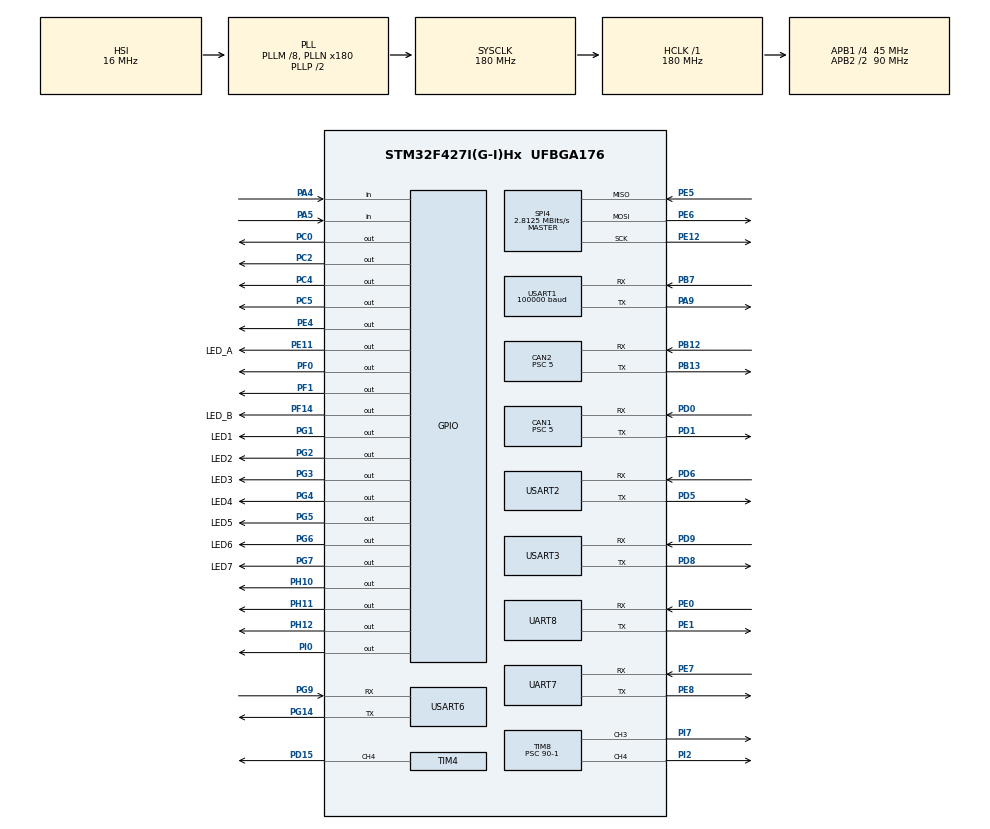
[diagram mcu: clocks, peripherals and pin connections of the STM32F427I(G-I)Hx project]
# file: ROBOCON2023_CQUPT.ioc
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CAN1.ABOM=ENABLE
CAN1.BS1=CAN_BS1_3TQ
CAN1.BS2=CAN_BS2_5TQ
CAN1.CalculateBaudRate=1000000
CAN1.CalculateTimeBit=1000
CAN1.CalculateTimeQuantum=111.11111111111111
CAN1.Prescaler=5
CAN2.ABOM=ENABLE
CAN2.BS1=CAN_BS1_3TQ
CAN2.BS2=CAN_BS2_5TQ
CAN2.CalculateBaudRate=1000000
CAN2.CalculateTimeBit=1000
CAN2.CalculateTimeQuantum=111.11111111111111
CAN2.Prescaler=5
Dma.Request0=USART1_RX
Dma.Request1=USART2_RX
Dma.Request2=USART6_RX
Dma.USART1_RX.0.Direction=DMA_PERIPH_TO_MEMORY
Dma.USART1_RX.0.FIFOMode=DMA_FIFOMODE_DISABLE
Dma.USART1_RX.0.Instance=DMA2_Stream2
Dma.USART1_RX.0.MemDataAlignment=DMA_MDATAALIGN_BYTE
Dma.USART1_RX.0.MemInc=DMA_MINC_ENABLE
Dma.USART1_RX.0.Mode=DMA_CIRCULAR
Dma.USART1_RX.0.PeriphDataAlignment=DMA_PDATAALIGN_BYTE
Dma.USART1_RX.0.PeriphInc=DMA_PINC_DISABLE
Dma.USART1_RX.0.Priority=DMA_PRIORITY_MEDIUM
Dma.USART2_RX.1.Direction=DMA_PERIPH_TO_MEMORY
Dma.USART2_RX.1.FIFOMode=DMA_FIFOMODE_DISABLE
Dma.USART2_RX.1.Instance=DMA1_Stream5
Dma.USART2_RX.1.MemDataAlignment=DMA_MDATAALIGN_BYTE
Dma.USART2_RX.1.MemInc=DMA_MINC_ENABLE
Dma.USART2_RX.1.Mode=DMA_CIRCULAR
Dma.USART2_RX.1.PeriphDataAlignment=DMA_PDATAALIGN_BYTE
Dma.USART2_RX.1.PeriphInc=DMA_PINC_DISABLE
Dma.USART2_RX.1.Priority=DMA_PRIORITY_MEDIUM
Dma.USART6_RX.2.Direction=DMA_PERIPH_TO_MEMORY
Dma.USART6_RX.2.FIFOMode=DMA_FIFOMODE_DISABLE
Dma.USART6_RX.2.Instance=DMA2_Stream1
Dma.USART6_RX.2.MemDataAlignment=DMA_MDATAALIGN_BYTE
Dma.USART6_RX.2.MemInc=DMA_MINC_ENABLE
Dma.USART6_RX.2.Mode=DMA_CIRCULAR
Dma.USART6_RX.2.PeriphDataAlignment=DMA_PDATAALIGN_BYTE
Dma.USART6_RX.2.PeriphInc=DMA_PINC_DISABLE
Dma.USART6_RX.2.Priority=DMA_PRIORITY_MEDIUM
FREERTOS.Mutexes01=shellMutex,Dynamic,NULL
FREERTOS.Tasks01=testTask,-1,128,test_task,As weak,NULL,Dynamic,NULL,NULL;chassisTask,0,128,chassis_task,As external,NULL,Dynamic,NULL,NULL;ledTask,-3,128,led_task,As external,NULL,Dynamic,NULL,NULL;solenoidTask,0,128,solenoid_task,As external,NULL,Dynamic,NULL,NULL;YuntaiTask,0,128,yuntaiTask,As weak,NULL,Dynamic,NULL,NULL
Mcu.Family=STM32F4
Mcu.Name=STM32F427I(G-I)Hx
Mcu.Package=UFBGA176
NVIC.CAN1_RX0_IRQn=true\:5\:0\:false\:false\:true\:true\:true\:true\:true
NVIC.CAN1_TX_IRQn=true\:5\:0\:false\:false\:true\:true\:true\:true\:true
NVIC.CAN2_RX0_IRQn=true\:5\:0\:false\:false\:true\:true\:true\:true\:true
NVIC.CAN2_TX_IRQn=true\:5\:0\:false\:false\:true\:true\:true\:true\:true
NVIC.DMA1_Stream5_IRQn=true\:5\:0\:false\:false\:true\:true\:false\:true\:true
NVIC.DMA2_Stream1_IRQn=true\:5\:0\:false\:false\:true\:true\:false\:true\:true
NVIC.DMA2_Stream2_IRQn=true\:5\:0\:false\:false\:true\:true\:false\:true\:true
NVIC.PriorityGroup=NVIC_PRIORITYGROUP_4
NVIC.TIM2_IRQn=true\:5\:0\:false\:false\:true\:true\:true\:true\:true
NVIC.TIM8_TRG_COM_TIM14_IRQn=true\:5\:0\:false\:false\:true\:false\:false\:true\:true
NVIC.TimeBase=TIM8_TRG_COM_TIM14_IRQn
NVIC.TimeBaseIP=TIM14
NVIC.UART7_IRQn=true\:5\:0\:false\:false\:true\:true\:true\:true\:true
NVIC.UART8_IRQn=true\:5\:0\:false\:false\:true\:true\:true\:true\:true
NVIC.USART1_IRQn=true\:7\:0\:true\:false\:true\:true\:true\:true\:true
NVIC.USART2_IRQn=true\:7\:0\:true\:false\:true\:true\:true\:true\:true
NVIC.USART6_IRQn=true\:6\:0\:true\:false\:true\:true\:true\:true\:true
PA13.Mode=Serial_Wire
PA13.Signal=SYS_JTMS-SWDIO
PA14.Mode=Serial_Wire
PA14.Signal=SYS_JTCK-SWCLK
PA4.GPIO_PuPd=GPIO_PULLDOWN
PA4.Signal=GPIO_Input
PA5.GPIO_PuPd=GPIO_PULLDOWN
PA5.Signal=GPIO_Input
PA9.Mode=Asynchronous
PA9.Signal=USART1_TX
PB12.Mode=CAN_Activate
PB12.Signal=CAN2_RX
PB13.Mode=CAN_Activate
PB13.Signal=CAN2_TX
PB7.Mode=Asynchronous
PB7.Signal=USART1_RX
PC0.Signal=GPIO_Output
PC2.GPIO_PuPd=GPIO_PULLDOWN
PC2.Signal=GPIO_Output
PC4.Signal=GPIO_Output
PC5.Signal=GPIO_Output
PD0.Mode=CAN_Activate
PD0.Signal=CAN1_RX
PD1.Mode=CAN_Activate
PD1.Signal=CAN1_TX
PD15.Signal=S_TIM4_CH4
PD5.Mode=Asynchronous
PD5.Signal=USART2_TX
PD6.Mode=Asynchronous
PD6.Signal=USART2_RX
PD8.Mode=Asynchronous
PD8.Signal=USART3_TX
PD9.Mode=Asynchronous
PD9.Signal=USART3_RX
PE0.Mode=Asynchronous
PE0.Signal=UART8_RX
PE1.Mode=Asynchronous
PE1.Signal=UART8_TX
PE11.GPIO_Label=LED_A
PE11.GPIO_PuPd=GPIO_PULLDOWN
PE11.Signal=GPIO_Output
PE12.Mode=Full_Duplex_Master
PE12.Signal=SPI4_SCK
PE4.GPIO_PuPd=GPIO_PULLDOWN
PE4.Signal=GPIO_Output
PE5.Mode=Full_Duplex_Master
PE5.Signal=SPI4_MISO
PE6.Mode=Full_Duplex_Master
PE6.Signal=SPI4_MOSI
PE7.Mode=Asynchronous
PE7.Signal=UART7_RX
PE8.Mode=Asynchronous
PE8.Signal=UART7_TX
PF0.GPIO_PuPd=GPIO_PULLDOWN
PF0.Signal=GPIO_Output
PF1.GPIO_PuPd=GPIO_PULLDOWN
PF1.PinState=GPIO_PIN_RESET
PF1.Signal=GPIO_Output
PF14.GPIO_Label=LED_B
PF14.GPIO_PuPd=GPIO_PULLDOWN
PF14.Signal=GPIO_Output
PG1.GPIO_Label=LED1
PG1.GPIO_PuPd=GPIO_PULLDOWN
PG1.Signal=GPIO_Output
PG14.Mode=Asynchronous
PG14.Signal=USART6_TX
PG2.GPIO_Label=LED2
PG2.GPIO_PuPd=GPIO_PULLDOWN
PG2.Signal=GPIO_Output
PG3.GPIO_Label=LED3
PG3.GPIO_PuPd=GPIO_PULLDOWN
PG3.Signal=GPIO_Output
PG4.GPIO_Label=LED4
PG4.GPIO_PuPd=GPIO_PULLDOWN
PG4.Signal=GPIO_Output
PG5.GPIO_Label=LED5
PG5.GPIO_PuPd=GPIO_PULLDOWN
PG5.Signal=GPIO_Output
PG6.GPIO_Label=LED6
PG6.GPIO_PuPd=GPIO_PULLDOWN
PG6.Signal=GPIO_Output
PG7.GPIO_Label=LED7
PG7.GPIO_PuPd=GPIO_PULLDOWN
PG7.Signal=GPIO_Output
PG9.Mode=Asynchronous
PG9.Signal=USART6_RX
PH0/OSC_IN.Mode=HSE-External-Oscillator
PH0/OSC_IN.Signal=RCC_OSC_IN
PH1/OSC_OUT.Mode=HSE-External-Oscillator
PH1/OSC_OUT.Signal=RCC_OSC_OUT
PH10.PinState=GPIO_PIN_SET
PH10.Signal=GPIO_Output
PH11.PinState=GPIO_PIN_SET
PH11.Signal=GPIO_Output
PH12.PinState=GPIO_PIN_SET
PH12.Signal=GPIO_Output
PI0.PinState=GPIO_PIN_SET
PI0.Signal=GPIO_Output
PI2.Signal=S_TIM8_CH4
PI7.Signal=S_TIM8_CH3
ProjectManager.HeapSize=0x300
ProjectManager.StackSize=0x400
ProjectManager.TargetToolchain=MDK-ARM V5.32
RCC.48MHZClocksFreq_Value=90000000
RCC.AHBFreq_Value=180000000
RCC.APB1CLKDivider=RCC_HCLK_DIV4
RCC.APB1Freq_Value=45000000
RCC.APB1TimFreq_Value=90000000
RCC.APB2CLKDivider=RCC_HCLK_DIV2
RCC.APB2Freq_Value=90000000
RCC.APB2TimFreq_Value=180000000
RCC.CortexFreq_Value=180000000
RCC.HCLKFreq_Value=180000000
RCC.HSE_VALUE=25000000
RCC.HSI_VALUE=16000000
RCC.LSE_VALUE=32768
RCC.PLLM=8
RCC.PLLN=180
RCC.SYSCLKFreq_VALUE=180000000
RCC.SYSCLKSource=RCC_SYSCLKSOURCE_PLLCLK
RCC.VCOOutputFreq_Value=360000000
SH.S_TIM4_CH4.0=TIM4_CH4,PWM Generation4 CH4
SH.S_TIM8_CH3.0=TIM8_CH3,PWM Generation3 CH3
SH.S_TIM8_CH4.0=TIM8_CH4,PWM Generation4 CH4
SPI4.BaudRatePrescaler=SPI_BAUDRATEPRESCALER_32
SPI4.CLKPhase=SPI_PHASE_2EDGE
SPI4.CalculateBaudRate=2.8125 MBits/s
SPI4.DataSize=SPI_DATASIZE_16BIT
SPI4.Direction=SPI_DIRECTION_2LINES
SPI4.Mode=SPI_MODE_MASTER
SPI4.VirtualType=VM_MASTER
TIM2.Period=1000000-1
TIM2.Prescaler=180-1
TIM4.AutoReloadPreload=TIM_AUTORELOAD_PRELOAD_ENABLE
TIM4.Channel-PWM\ Generation4\ CH4=TIM_CHANNEL_4
TIM4.Period=10000-1
TIM4.Prescaler=90-1
TIM8.AutoReloadPreload=TIM_AUTORELOAD_PRELOAD_ENABLE
TIM8.Channel-PWM\ Generation3\ CH3=TIM_CHANNEL_3
TIM8.Channel-PWM\ Generation4\ CH4=TIM_CHANNEL_4
TIM8.Period=40000-1
TIM8.Prescaler=90-1
UART7.VirtualMode=Asynchronous
UART8.VirtualMode=Asynchronous
USART1.BaudRate=100000
USART1.VirtualMode=VM_ASYNC
USART2.VirtualMode=VM_ASYNC
USART3.VirtualMode=VM_ASYNC
USART6.VirtualMode=VM_ASYNC
VP_FREERTOS_VS_CMSIS_V1.Mode=CMSIS_V1
VP_SYS_VS_tim14.Mode=TIM14
VP_TIM2_VS_ClockSourceINT.Mode=Internal
VP_TIM4_VS_ClockSourceINT.Mode=Internal
VP_TIM8_VS_ClockSourceINT.Mode=Internal
board=custom

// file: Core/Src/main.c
/* USER CODE BEGIN Header */
/**
  ******************************************************************************
  * @file           : main.c
  * @brief          : Main program body
  ******************************************************************************
  * @attention
  *
  * Copyright (c) 2023 STMicroelectronics.
  * All rights reserved.
  *
  * This software is licensed under terms that can be found in the LICENSE file
  * in the root directory of this software component.
  * If no LICENSE file comes with this software, it is provided AS-IS.
  *
  ******************************************************************************
  */
/* USER CODE END Header */
#include "main.h"
#include "cmsis_os.h"
#include "can.h"
#include "dma.h"
#include "spi.h"
#include "tim.h"
#include "usart.h"
#include "gpio.h"

/* USER CODE BEGIN Includes */
#include "bsp_can.h"
#include "bsp_sbus.h"
#include "stdio.h"
#include "vofa_lower.h"
#include "flashdb.h"
#include "log.h"
#include "commend.h"
#include <string.h>
#include <flashdb.h>
uint8_t shot_flag=0;
static uint32_t boot_count = 0;
static time_t boot_time[10] = {0, 1, 2, 3};
struct fdb_kvdb kvdb;
static struct fdb_default_kv_node default_kv_table[] = {
        {"username", "armink", 0}, /* string KV */
        {"password", "123456", 0}, /* string KV */
        {"boot_count", &boot_count, sizeof(boot_count)}, /* int type KV */
        {"boot_time", &boot_time, sizeof(boot_time)},    /* int array type KV */
};
//重写printf
int fputc(int ch,FILE *f)
{
    uint8_t temp[1]= {ch};
    HAL_UART_Transmit(&huart6,temp,1,2);
		return 0;
}

/* USER CODE END Includes */

void SystemClock_Config(void);
void MX_FREERTOS_Init(void);

/* USER CODE BEGIN 0 */

static void lock(fdb_db_t db)
{
    //__disable_irq();
}

static void unlock(fdb_db_t db)
{
    //__enable_irq();
}

/* USER CODE END 0 */

int main(void)
{

  /* MCU Configuration--------------------------------------------------------*/

  /* Reset of all peripherals, Initializes the Flash interface and the Systick. */
  HAL_Init();

  /* Configure the system clock */
  SystemClock_Config();

  /* Initialize all configured peripherals */
  MX_GPIO_Init();
  MX_DMA_Init();
  MX_CAN1_Init();
  MX_CAN2_Init();
  MX_SPI4_Init();
  MX_USART1_UART_Init();
  MX_USART2_UART_Init();
  MX_USART3_UART_Init();
  MX_USART6_UART_Init();
  MX_UART7_Init();
  MX_UART8_Init();
  MX_TIM4_Init();
  MX_TIM8_Init();
  MX_TIM2_Init();
  /* USER CODE BEGIN 2 */
  dbus_uart_init();
	HAL_TIM_Base_Start_IT(&htim2);
  TIM8 ->CCR3 = 2000;
  TIM8 ->CCR4 = 0;
  HAL_TIM_PWM_Start(&htim4, TIM_CHANNEL_4);
  HAL_TIM_PWM_Start(&htim8, TIM_CHANNEL_3);
  HAL_TIM_PWM_Start(&htim8, TIM_CHANNEL_4);
    __HAL_UART_ENABLE_IT(&huart6, UART_IT_IDLE);//使能串口6 IDLE中断
    __HAL_UART_ENABLE_IT(&huart2, UART_IT_IDLE);//使能串口6 IDLE中断
  TIM4->CCR4 = 800;
	extern void userShellInit(void);//由于该rtos不支持宏自动初始化,故手动初始化
  userShellInit();
  my_can_filter_init_recv_all(&hcan1);
  can_filter_recv_special(&hcan2);
  var_init();

fdb_err_t result;

        struct fdb_default_kv default_kv;

        default_kv.kvs = default_kv_table;
        default_kv.num = sizeof(default_kv_table) / sizeof(default_kv_table[0]);
        /* set the lock and unlock function if you want */
        //fdb_kvdb_control(&kvdb, FDB_KVDB_CTRL_SET_LOCK, (void *)lock);
       // fdb_kvdb_control(&kvdb, FDB_KVDB_CTRL_SET_UNLOCK, (void *)unlock);
        /* Key-Value database initialization
         *
         *       &kvdb: database object
         *       "env": database name
         * "fdb_kvdb1": The flash partition name base on FAL. Please make sure it's in FAL partition table.
         *              Please change to YOUR partition name.
         * &default_kv: The default KV nodes. It will auto add to KVDB when first initialize successfully.
         *        NULL: The user data if you need, now is empty.
         */

        result = fdb_kvdb_init(&kvdb, "env", "fdb_kvdb1", &default_kv, NULL);
		logInfo("fdb init %d\r\n",result);
			//extern void kvdb_basic_sample(fdb_kvdb_t kvdb);
		kvdb_basic_sample(&kvdb);
		char *kvdb_data1 = "kvdb_data0";
		flash_delete_data(&kvdb,kvdb_data1);
		flashdb_get_set_data(&kvdb,kvdb_data1,1234);

        /* run basic KV samples */
      //  kvdb_basic_sample(&kvdb);
        /* run string KV samples */
      //  kvdb_type_string_sample(&kvdb);
        /* run blob KV samples */
       // kvdb_type_blob_sample(&kvdb);

  /* USER CODE END 2 */

  /* Call init function for freertos objects (in freertos.c) */
  MX_FREERTOS_Init();

  /* Start scheduler */
  osKernelStart();

  /* We should never get here as control is now taken by the scheduler */
  /* Infinite loop */
  /* USER CODE BEGIN WHILE */

		   /* run basic KV samples */
       //kvdb_basic_sample(&kvdb);
        /* run string KV samples */
       //kvdb_type_string_sample(&kvdb);
        /* run blob KV samples */
       //kvdb_type_blob_sample(&kvdb);
  while (1)
  {
    /* USER CODE END WHILE */

  }
}

void SystemClock_Config(void)
{
  RCC_OscInitTypeDef RCC_OscInitStruct = {0};
  RCC_ClkInitTypeDef RCC_ClkInitStruct = {0};

  /** Configure the main internal regulator output voltage
  */
  __HAL_RCC_PWR_CLK_ENABLE();
  __HAL_PWR_VOLTAGESCALING_CONFIG(PWR_REGULATOR_VOLTAGE_SCALE1);

  /** Initializes the RCC Oscillators according to the specified parameters
  * in the RCC_OscInitTypeDef structure.
  */
  RCC_OscInitStruct.OscillatorType = RCC_OSCILLATORTYPE_HSI;
  RCC_OscInitStruct.HSIState = RCC_HSI_ON;
  RCC_OscInitStruct.HSICalibrationValue = RCC_HSICALIBRATION_DEFAULT;
  RCC_OscInitStruct.PLL.PLLState = RCC_PLL_ON;
  RCC_OscInitStruct.PLL.PLLSource = RCC_PLLSOURCE_HSI;
  RCC_OscInitStruct.PLL.PLLM = 8;
  RCC_OscInitStruct.PLL.PLLN = 180;
  RCC_OscInitStruct.PLL.PLLP = RCC_PLLP_DIV2;
  RCC_OscInitStruct.PLL.PLLQ = 4;
  if (HAL_RCC_OscConfig(&RCC_OscInitStruct) != HAL_OK)
  {
    Error_Handler();
  }

  /** Activate the Over-Drive mode
  */
  if (HAL_PWREx_EnableOverDrive() != HAL_OK)
  {
    Error_Handler();
  }

  /** Initializes the CPU, AHB and APB buses clocks
  */
  RCC_ClkInitStruct.ClockType = RCC_CLOCKTYPE_HCLK|RCC_CLOCKTYPE_SYSCLK
                              |RCC_CLOCKTYPE_PCLK1|RCC_CLOCKTYPE_PCLK2;
  RCC_ClkInitStruct.SYSCLKSource = RCC_SYSCLKSOURCE_PLLCLK;
  RCC_ClkInitStruct.AHBCLKDivider = RCC_SYSCLK_DIV1;
  RCC_ClkInitStruct.APB1CLKDivider = RCC_HCLK_DIV4;
  RCC_ClkInitStruct.APB2CLKDivider = RCC_HCLK_DIV2;

  if (HAL_RCC_ClockConfig(&RCC_ClkInitStruct, FLASH_LATENCY_5) != HAL_OK)
  {
    Error_Handler();
  }
}

void HAL_TIM_PeriodElapsedCallback(TIM_HandleTypeDef *htim)
{
  if (htim->Instance == TIM14) {
    HAL_IncTick();
  }
  /* USER CODE BEGIN Callback 1 */
	if(htim->Instance == TIM2)
	{
		if(shot_flag == 1)
		{
			shot_flag = 0;
		}else
		{
			shot_flag=0;
		}
	}
  /* USER CODE END Callback 1 */
}

void Error_Handler(void)
{
  __disable_irq();
  while (1)
  {
  }
}

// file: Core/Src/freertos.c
/* USER CODE BEGIN Header */
/**
  ******************************************************************************
  * File Name          : freertos.c
  * Description        : Code for freertos applications
  ******************************************************************************
  * @attention
  *
  * Copyright (c) 2023 STMicroelectronics.
  * All rights reserved.
  *
  * This software is licensed under terms that can be found in the LICENSE file
  * in the root directory of this software component.
  * If no LICENSE file comes with this software, it is provided AS-IS.
  *
  ******************************************************************************
  */
/* USER CODE END Header */

#include "FreeRTOS.h"
#include "task.h"
#include "main.h"
#include "cmsis_os.h"

osThreadId testTaskHandle;
osThreadId chassisTaskHandle;
osThreadId ledTaskHandle;
osThreadId solenoidTaskHandle;
osThreadId YuntaiTaskHandle;
osMutexId shellMutexHandle;

void test_task(void const * argument);
extern void chassis_task(void const * argument);
extern void led_task(void const * argument);
extern void solenoid_task(void const * argument);
void yuntaiTask(void const * argument);

void MX_FREERTOS_Init(void); /* (MISRA C 2004 rule 8.1) */

/* GetIdleTaskMemory prototype (linked to static allocation support) */
void vApplicationGetIdleTaskMemory( StaticTask_t **ppxIdleTaskTCBBuffer, StackType_t **ppxIdleTaskStackBuffer, uint32_t *pulIdleTaskStackSize );

/* USER CODE BEGIN GET_IDLE_TASK_MEMORY */
static StaticTask_t xIdleTaskTCBBuffer;
static StackType_t xIdleStack[configMINIMAL_STACK_SIZE];

void vApplicationGetIdleTaskMemory( StaticTask_t **ppxIdleTaskTCBBuffer, StackType_t **ppxIdleTaskStackBuffer, uint32_t *pulIdleTaskStackSize )
{
  *ppxIdleTaskTCBBuffer = &xIdleTaskTCBBuffer;
  *ppxIdleTaskStackBuffer = &xIdleStack[0];
  *pulIdleTaskStackSize = configMINIMAL_STACK_SIZE;
  /* place for user code */
}
/* USER CODE END GET_IDLE_TASK_MEMORY */

void MX_FREERTOS_Init(void) {
  /* Create the mutex(es) */
  /* definition and creation of shellMutex */
  osMutexDef(shellMutex);
  shellMutexHandle = osMutexCreate(osMutex(shellMutex));

  /* Create the thread(s) */
  /* definition and creation of testTask */
  osThreadDef(testTask, test_task, osPriorityBelowNormal, 0, 128);
  testTaskHandle = osThreadCreate(osThread(testTask), NULL);

  /* definition and creation of chassisTask */
  osThreadDef(chassisTask, chassis_task, osPriorityNormal, 0, 128);
  chassisTaskHandle = osThreadCreate(osThread(chassisTask), NULL);

  /* definition and creation of ledTask */
  osThreadDef(ledTask, led_task, osPriorityIdle, 0, 128);
  ledTaskHandle = osThreadCreate(osThread(ledTask), NULL);

  /* definition and creation of solenoidTask */
  osThreadDef(solenoidTask, solenoid_task, osPriorityNormal, 0, 128);
  solenoidTaskHandle = osThreadCreate(osThread(solenoidTask), NULL);

  /* definition and creation of YuntaiTask */
  osThreadDef(YuntaiTask, yuntaiTask, osPriorityNormal, 0, 128);
  YuntaiTaskHandle = osThreadCreate(osThread(YuntaiTask), NULL);

}

__weak void test_task(void const * argument)
{
  for(;;)
  {
    osDelay(1);
  }
}

__weak void yuntaiTask(void const * argument)
{
  for(;;)
  {
    osDelay(1);
  }
}
